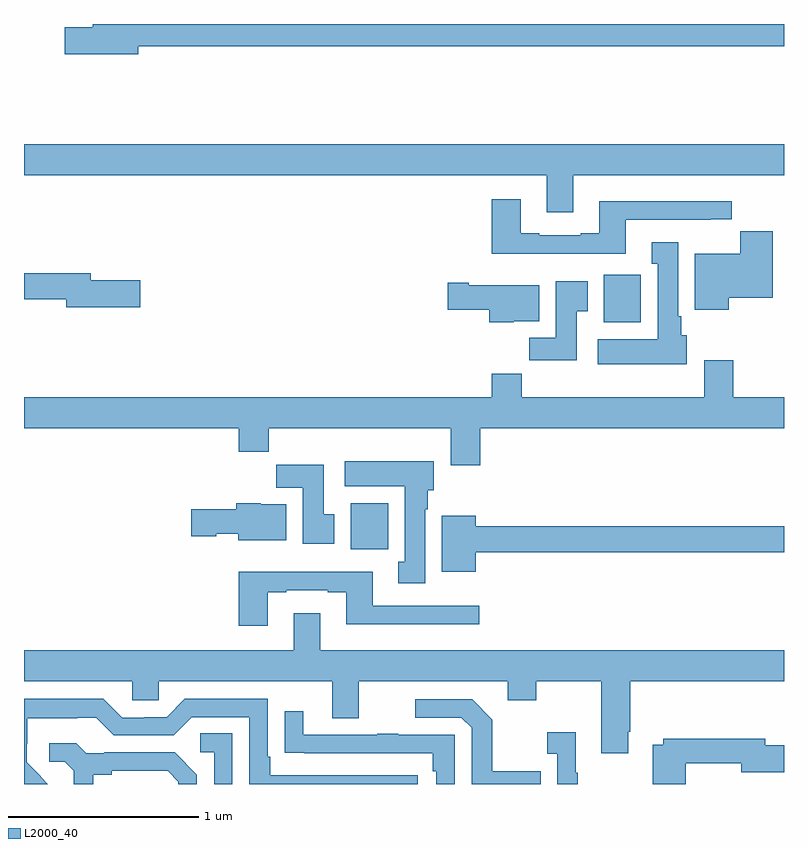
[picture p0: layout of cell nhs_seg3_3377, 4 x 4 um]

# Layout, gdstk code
import gdstk
lib = gdstk.Library(unit=1e-6, precision=1e-09)
def R(c, l, rs):  # rectangles x0, y0, x1, y1
    for r in rs: c.add(gdstk.rectangle(r[:2], r[2:], *l))
def P(c, l, *ps):  # polygons
    for p in ps: c.add(gdstk.Polygon(p, *l))
L2000_40 = (2000, 40)

nhs_seg3_3377 = lib.new_cell('nhs_seg3_3377')
R(nhs_seg3_3377, L2000_40, [(288.719,677.636,288.916,677.878), (290.051,678.83,290.247,679.081)])
P(nhs_seg3_3377, L2000_40, [(287.602,680.284),(291,680.284),(291,680.4),(287.363,680.4),(287.363,680.384),(287.214,680.384),(287.214,680.242),(287.602,680.242)],
  [(289.891,679.604),(291,679.604),(291,679.768),(287,679.768),(287,679.604),(289.751,679.604),(289.751,679.41),(289.891,679.41)],
  [(290.167,679.371),(290.615,679.371),(290.615,679.373),(290.724,679.373),(290.724,679.468),(290.027,679.468),(290.027,679.3),(289.931,679.3),(289.931,679.287),(289.711,679.287),(289.711,679.3),(289.615,679.3),(289.615,679.477),(289.463,679.477),(289.463,679.19),(290.167,679.19)],
  [(290.71,678.959),(290.94,678.959),(290.94,679.308),(290.771,679.308),(290.771,679.192),(290.531,679.192),(290.531,678.896),(290.71,678.896)],
  [(290.488,678.762),(290.458,678.762),(290.458,678.862),(290.443,678.862),(290.443,679.252),(290.303,679.252),(290.303,679.139),(290.336,679.139),(290.336,678.742),(290.019,678.742),(290.019,678.608),(290.488,678.608)],
  [(287.611,679.052),(287.35,679.052),(287.35,679.088),(287,679.088),(287,678.952),(287.222,678.952),(287.222,678.91),(287.611,678.91)],
  [(289.909,678.889),(289.966,678.889),(289.966,679.045),(289.799,679.045),(289.799,678.748),(289.66,678.748),(289.66,678.63),(289.909,678.63)],
  [(289.578,678.836),(289.711,678.836),(289.711,679.024),(289.342,679.024),(289.342,679.037),(289.23,679.037),(289.23,678.895),(289.448,678.895),(289.448,678.83),(289.578,678.83)],
  [(289.4,678.272),(291,678.272),(291,678.436),(290.732,678.436),(290.732,678.631),(290.579,678.631),(290.579,678.436),(289.619,678.436),(289.619,678.56),(289.463,678.56),(289.463,678.436),(287,678.436),(287,678.272),(288.131,678.272),(288.131,678.148),(288.287,678.148),(288.287,678.272),(289.247,678.272),(289.247,678.078),(289.4,678.078)],
  [(289.111,677.846),(289.126,677.846),(289.126,677.946),(289.156,677.946),(289.156,678.1),(288.687,678.1),(288.687,677.966),(289.004,677.966),(289.004,677.57),(288.971,677.57),(288.971,677.457),(289.111,677.457)],
  [(288.634,677.82),(288.577,677.82),(288.577,678.079),(288.328,678.079),(288.328,677.96),(288.467,677.96),(288.467,677.664),(288.634,677.664)],
  [(288.379,677.872),(288.246,677.872),(288.246,677.878),(288.116,677.878),(288.116,677.847),(287.88,677.847),(287.88,677.705),(288.012,677.705),(288.012,677.717),(288.128,677.717),(288.128,677.684),(288.379,677.684)],
  [(289.378,677.62),(291,677.62),(291,677.756),(289.378,677.756),(289.378,677.812),(289.199,677.812),(289.199,677.516),(289.378,677.516)],
  [(288.283,677.409),(288.379,677.409),(288.379,677.421),(288.599,677.421),(288.599,677.409),(288.695,677.409),(288.695,677.24),(289.396,677.24),(289.396,677.337),(288.835,677.337),(288.835,677.518),(288.131,677.518),(288.131,677.232),(288.283,677.232)],
  [(290.179,676.675),(290.192,676.675),(290.192,676.94),(291,676.94),(291,677.104),(288.559,677.104),(288.559,677.299),(288.419,677.299),(288.419,677.104),(287,677.104),(287,676.94),(287.571,676.94),(287.571,676.842),(287.709,676.842),(287.709,676.94),(288.623,676.94),(288.623,676.746),(288.763,676.746),(288.763,676.94),(289.547,676.94),(289.547,676.841),(289.695,676.841),(289.695,676.94),(290.039,676.94),(290.039,676.563),(290.179,676.563)],
  [(287.087,676.439),(287.088,676.44),(287.014,676.514),(287.014,676.611),(287.016,676.611),(287.016,676.745),(287.279,676.745),(287.279,676.749),(287.379,676.749),(287.472,676.656),(287.787,676.656),(287.883,676.752),(288.186,676.752),(288.186,676.4),(289.072,676.4),(289.072,676.446),(288.295,676.446),(288.295,676.543),(288.282,676.543),(288.282,676.848),(287.847,676.848),(287.751,676.752),(287.633,676.752),(287.633,676.749),(287.517,676.749),(287.417,676.849),(287,676.849),(287,676.4),(287.126,676.4)],
  [(289.721,676.467),(289.465,676.467),(289.465,676.739),(289.359,676.845),(289.059,676.845),(289.059,676.749),(289.302,676.749),(289.356,676.695),(289.356,676.4),(289.721,676.4)],
  [(289.266,676.659),(288.971,676.659),(288.971,676.664),(288.859,676.664),(288.859,676.659),(288.469,676.659),(288.469,676.783),(288.373,676.783),(288.373,676.564),(288.475,676.564),(288.475,676.563),(289.15,676.563),(289.15,676.466),(289.17,676.466),(289.17,676.4),(289.266,676.4)],
  [(289.915,676.459),(289.903,676.459),(289.903,676.672),(289.755,676.672),(289.755,676.559),(289.806,676.559),(289.806,676.4),(289.915,676.4)],
  [(288.096,676.667),(287.928,676.667),(287.928,676.566),(288,676.566),(288,676.4),(288.096,676.4)],
  [(290.483,676.51),(290.774,676.51),(290.774,676.463),(291,676.463),(291,676.605),(290.902,676.605),(290.902,676.639),(290.364,676.639),(290.364,676.606),(290.308,676.606),(290.308,676.4),(290.483,676.4)],
  [(287.365,676.448),(287.461,676.448),(287.461,676.47),(287.756,676.47),(287.813,676.413),(287.813,676.4),(287.91,676.4),(287.91,676.45),(287.794,676.566),(287.422,676.566),(287.422,676.563),(287.328,676.563),(287.276,676.615),(287.133,676.615),(287.133,676.518),(287.214,676.518),(287.261,676.471),(287.261,676.4),(287.365,676.4)])

lib.write_gds('nhs_seg3_3377.gds')
